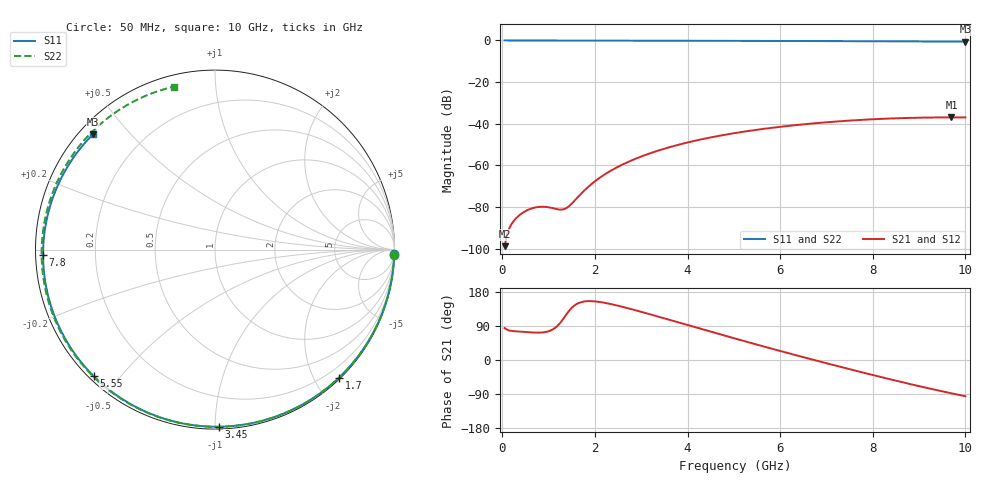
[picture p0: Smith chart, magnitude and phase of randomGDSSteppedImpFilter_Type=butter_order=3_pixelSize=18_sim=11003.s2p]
! freq	dB(S11)	phase(S11)	dB(S12)	phase(S12)
!  dB(S21)	phase(S21)	dB(S22)	phase(S22)
!S-par simulation data
#  GHz  S  DB  R 50
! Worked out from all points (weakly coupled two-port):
!   200 points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, 50 MHz to 10 GHz, reference 50 ohm
!   highest |S21| = -36.93 dB at 9.7 GHz (marker M1); lowest = -98.7 dB at 50 MHz (marker M2)
!   lowest |S11| = -0.6 dB at 10 GHz (marker M3), VSWR 29.96, Z = 1.93 + j19.8 ohm
!   |S11| at or under -10 dB: nowhere
!   |S22| runs from -0.6 to 0.0 dB; largest |S21 - S12| = 0
!   S11 on the Smith chart (normalised r, x): 50 MHz: 1, -85; 1.7 GHz: 0.02, -2.36; 3.45 GHz: 0.01, -1.02; 5.55 GHz: 0.01, -0.43; 7.8 GHz: 0.02, -0.02; 10 GHz: 0.04, +0.40
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0.05  -0.00 -1.3  -98.74 84.2  -98.74 84.2  -0.00 -1.6
0.7  -0.03 -19.3  -80.23 72.3  -80.23 72.3  -0.03 -22.9
1.4  -0.05 -38.1  -80.22 123.1  -80.22 123.1  -0.06 -45.2
1.5  -0.05 -40.8  -78.31 137.7  -78.31 137.7  -0.06 -48.3
1.7  -0.06 -46.0  -73.60 152.5  -73.60 152.5  -0.07 -54.4
1.75  -0.06 -47.3  -72.48 153.9  -72.48 153.9  -0.07 -55.9
2.05  -0.07 -55.0  -66.78 154.0  -66.78 154.0  -0.08 -64.8
2.45  -0.08 -65.0  -61.21 144.7  -61.21 144.7  -0.09 -76.4
2.9  -0.10 -76.0  -56.57 130.5  -56.57 130.5  -0.11 -88.8
3.4  -0.11 -87.7  -52.63 113.4  -52.63 113.4  -0.13 -102.1
3.45  -0.11 -88.9  -52.29 111.6  -52.29 111.6  -0.13 -103.4
4.2  -0.14 -105.6  -47.94 85.3  -47.94 85.3  -0.16 -122.0
5.05  -0.18 -123.6  -44.35 55.8  -44.35 55.8  -0.20 -142.0
5.55  -0.21 -133.8  -42.71 38.8  -42.71 38.8  -0.22 -153.3
6.15  -0.24 -145.8  -41.07 18.9  -41.07 18.9  -0.26 -166.6
6.7  -0.28 -156.6  -39.85 1.0  -39.85 1.0  -0.30 -178.7
7.25  -0.32 -167.3  -38.85 -16.4  -38.85 -16.4  -0.34 169.1
7.8  -0.37 -178.1  -38.06 -33.5  -38.06 -33.5  -0.38 156.8
8.35  -0.42 171.0  -37.49 -50.2  -37.49 -50.2  -0.43 144.2
9.05  -0.49 156.8  -37.05 -70.4  -37.05 -70.4  -0.49 127.7
9.7  -0.55 143.1  -36.93 -87.9  -36.93 -87.9  -0.55 111.7
10  -0.58 136.7  -36.95 -95.5  -36.95 -95.5  -0.57 104.1
